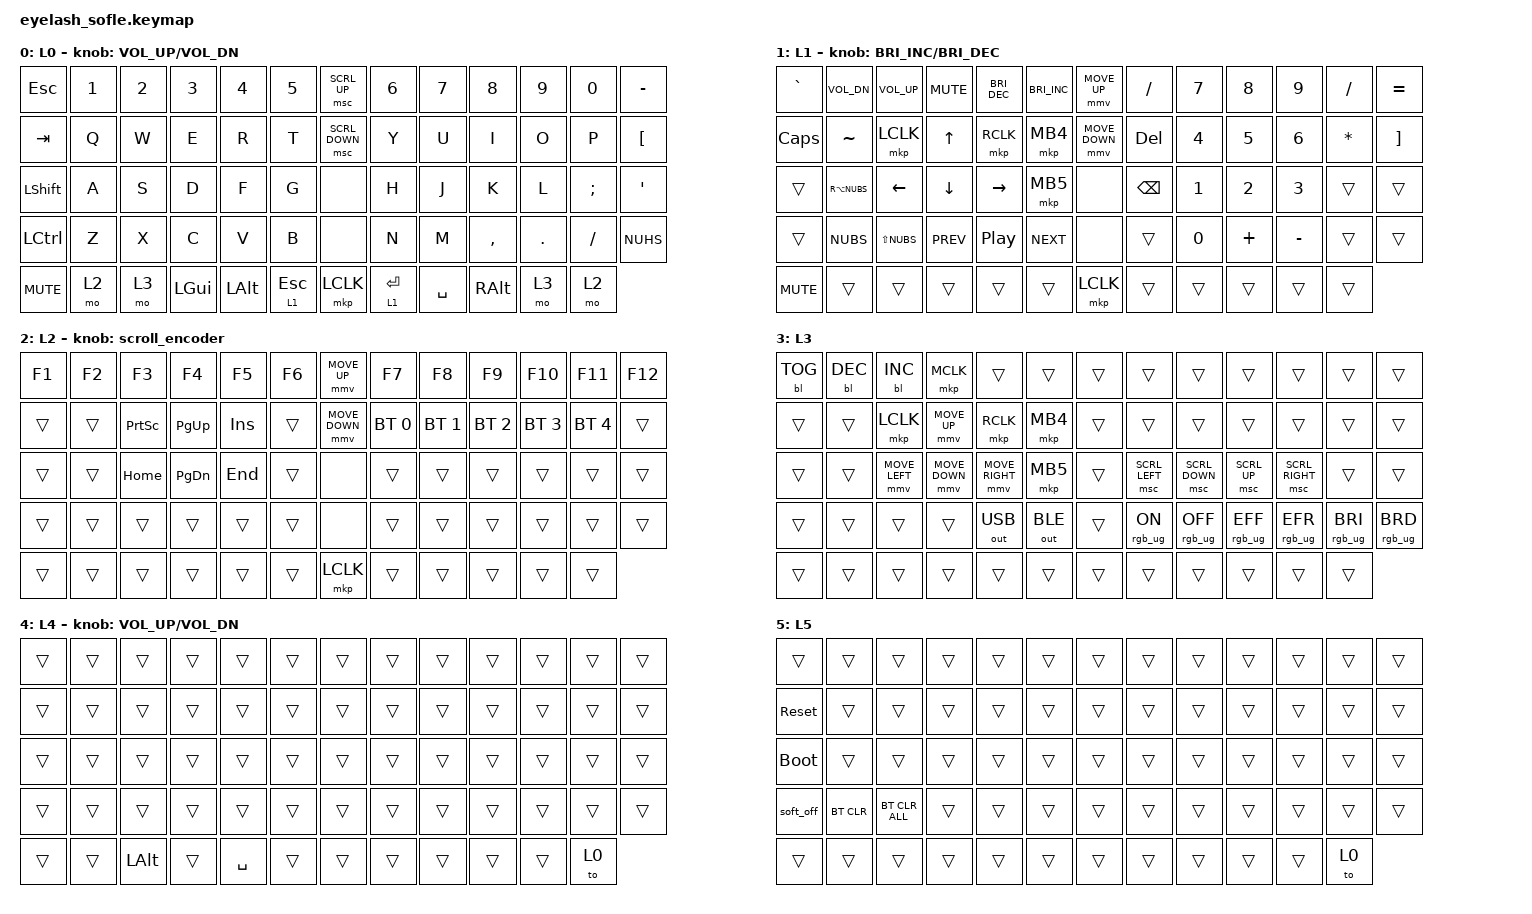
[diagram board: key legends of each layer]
#define ZMK_POINTING_DEFAULT_MOVE_VAL 1200  // 600
#define ZMK_POINTING_DEFAULT_SCRL_VAL 35    // 10
#include <input/processors.dtsi>
#include <behaviors.dtsi>
#include <dt-bindings/zmk/bt.h>
#include <dt-bindings/zmk/keys.h>
#include <dt-bindings/zmk/outputs.h>
#include <dt-bindings/zmk/pointing.h>
#include <dt-bindings/zmk/rgb.h>
#include <dt-bindings/zmk/backlight.h>
#include <zephyr/dt-bindings/input/input-event-codes.h>

/ {
    zip_scroll_scaler: zip_scroll_scaler {
        compatible = "zmk,input-processor-scaler";
        #input-processor-cells = <2>;
        type = <INPUT_EV_REL>;
        codes = <INPUT_REL_WHEEL INPUT_REL_HWHEEL>;
        track-remainders;
    };
};

&mmv_input_listener {
    input-processors = <&zip_xy_scaler 2 1>;
};

&msc_input_listener {
    input-processors = <&zip_scroll_scaler 2 1>;
};

&msc {
    acceleration-exponent = <0>; // 0
    time-to-max-speed-ms = <0>; // 300
    delay-ms = <0>; // 0
};

&mmv {
    time-to-max-speed-ms = <200>;
    acceleration-exponent = <1>;
};

&lt {
    tapping-term-ms = <150>; // This is the value already set by default
};

/ {
    scroll_encoder: scroll_encoder {
        compatible = "zmk,behavior-sensor-rotate";
        #sensor-binding-cells = <0>;
        bindings = <&msc SCRL_DOWN>, <&msc SCRL_UP>;
        tap-ms = <30>;
    };

    combos {
        compatible = "zmk,combos";

        combo_layer_4 {
            timeout-ms = <50>;
            key-positions = <53 63>; // Base layer: &mo 2 and &mo 2
            bindings = <&to 4>;
            layers = <0>;
        };

        combo_layer_5 {
            timeout-ms = <50>;
            key-positions = <54 62>; // Base layer: &mo 3 and &mo 3
            bindings = <&to 5>;
            layers = <0>;
        };
    };

    keymap {
        compatible = "zmk,keymap";

        layer0 {
            bindings = <
                &kp ESC      &kp N1   &kp N2   &kp N3     &kp N4     &kp N5         &msc SCRL_UP        &kp N6        &kp N7      &kp N8      &kp N9    &kp N0     &kp MINUS
                &kp TAB      &kp Q    &kp W    &kp E      &kp R      &kp T          &msc SCRL_DOWN      &kp Y         &kp U       &kp I       &kp O     &kp P      &kp LBKT
                &kp LSHFT    &kp A    &kp S    &kp D      &kp F      &kp G          &none               &kp H         &kp J       &kp K       &kp L     &kp SEMI   &kp APOS
                &kp LCTRL    &kp Z    &kp X    &kp C      &kp V      &kp B          &none               &kp N         &kp M       &kp COMMA   &kp DOT   &kp FSLH   &kp NUHS
                &kp C_MUTE   &mo 2    &mo 3    &kp LGUI   &kp LALT   &lt 1 ESC      &mkp LCLK           &lt 1 ENTER   &kp SPACE   &kp RALT    &mo 3     &mo 2
            >;

            sensor-bindings = <&inc_dec_kp C_VOLUME_UP C_VOL_DN>;
            display-name = "L0";
        };

        layer_1 {
            bindings = <
                &kp GRAVE    &kp C_VOL_DN   &kp C_VOL_UP   &kp C_MUTE   &kp C_BRI_DEC   &kp C_BRI_INC      &mmv MOVE_UP        &kp SLASH    &kp N7   &kp N8     &kp N9      &kp SLASH   &kp EQUAL
                &kp CAPS     &kp TILDE      &mkp LCLK      &kp UP       &mkp RCLK       &mkp MB4           &mmv MOVE_DOWN      &kp DELETE   &kp N4   &kp N5     &kp N6      &kp STAR    &kp RBKT
                &trans       &kp RA(NUBS)   &kp LEFT       &kp DOWN     &kp RIGHT       &mkp MB5           &none               &kp BSPC     &kp N1   &kp N2     &kp N3      &trans      &trans
                &trans       &kp NUBS       &kp LS(NUBS)   &kp C_PREV   &kp C_PP        &kp C_NEXT         &none               &trans       &kp N0   &kp PLUS   &kp MINUS   &trans      &trans
                &kp C_MUTE   &trans         &trans         &trans       &trans          &trans             &mkp LCLK           &trans       &trans   &trans     &trans      &trans
            >;

            sensor-bindings = <&inc_dec_kp C_BRI_INC C_BRI_DEC>;
            display-name = "L1";
        };

        layer_2 {
            bindings = <
                &kp F1   &kp F2   &kp F3      &kp F4      &kp F5       &kp F6      &mmv MOVE_UP        &kp F7         &kp F8         &kp F9         &kp F10        &kp F11        &kp F12
                &trans   &trans   &kp PSCRN   &kp PG_UP   &kp INSERT   &trans      &mmv MOVE_DOWN      &bt BT_SEL 0   &bt BT_SEL 1   &bt BT_SEL 2   &bt BT_SEL 3   &bt BT_SEL 4   &trans
                &trans   &trans   &kp HOME    &kp PG_DN   &kp END      &trans      &none               &trans         &trans         &trans         &trans         &trans         &trans
                &trans   &trans   &trans      &trans      &trans       &trans      &none               &trans         &trans         &trans         &trans         &trans         &trans
                &trans   &trans   &trans      &trans      &trans       &trans      &mkp LCLK           &trans         &trans         &trans         &trans         &trans
            >;

            sensor-bindings = <&scroll_encoder>;
            display-name = "L2";
        };

        layer_3 {
            bindings = <
                &bl BL_TOG   &bl BL_DEC   &bl BL_INC       &mkp MCLK        &trans            &trans            &trans      &trans           &trans            &trans            &trans            &trans            &trans
                &trans       &trans       &mkp LCLK        &mmv MOVE_UP     &mkp RCLK         &mkp MB4          &trans      &trans           &trans            &trans            &trans            &trans            &trans
                &trans       &trans       &mmv MOVE_LEFT   &mmv MOVE_DOWN   &mmv MOVE_RIGHT   &mkp MB5          &trans      &msc SCRL_LEFT   &msc SCRL_DOWN    &msc SCRL_UP      &msc SCRL_RIGHT   &trans            &trans
                &trans       &trans       &trans           &trans           &out OUT_USB      &out OUT_BLE      &trans      &rgb_ug RGB_ON   &rgb_ug RGB_OFF   &rgb_ug RGB_EFF   &rgb_ug RGB_EFR   &rgb_ug RGB_BRI   &rgb_ug RGB_BRD
                &trans       &trans       &trans           &trans           &trans            &trans            &trans      &trans           &trans            &trans            &trans            &trans
            >;

            display-name = "L3";
        };

        layer_4 {
            bindings = <
                &trans   &trans   &trans     &trans   &trans      &trans      &trans      &trans   &trans   &trans   &trans   &trans   &trans
                &trans   &trans   &trans     &trans   &trans      &trans      &trans      &trans   &trans   &trans   &trans   &trans   &trans
                &trans   &trans   &trans     &trans   &trans      &trans      &trans      &trans   &trans   &trans   &trans   &trans   &trans
                &trans   &trans   &trans     &trans   &trans      &trans      &trans      &trans   &trans   &trans   &trans   &trans   &trans
                &trans   &trans   &kp LALT   &trans   &kp SPACE   &trans      &trans      &trans   &trans   &trans   &trans   &to 0
            >;

            sensor-bindings = <&inc_dec_kp C_VOL_UP C_VOL_DN>;
            display-name = "L4";
        };

        layer_5 {
            bindings = <
                &trans        &trans       &trans           &trans   &trans   &trans      &trans      &trans   &trans   &trans   &trans   &trans   &trans
                &sys_reset    &trans       &trans           &trans   &trans   &trans      &trans      &trans   &trans   &trans   &trans   &trans   &trans
                &bootloader   &trans       &trans           &trans   &trans   &trans      &trans      &trans   &trans   &trans   &trans   &trans   &trans
                &soft_off     &bt BT_CLR   &bt BT_CLR_ALL   &trans   &trans   &trans      &trans      &trans   &trans   &trans   &trans   &trans   &trans
                &trans        &trans       &trans           &trans   &trans   &trans      &trans      &trans   &trans   &trans   &trans   &to 0
            >;

            display-name = "L5";
        };
    };
};
